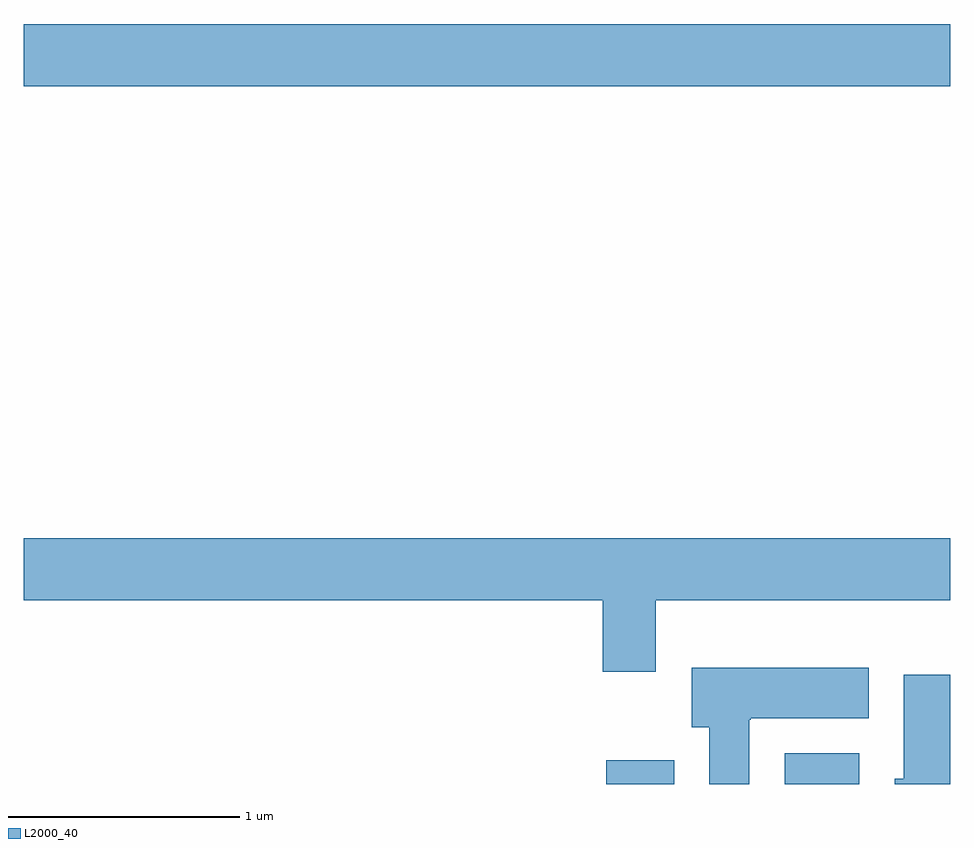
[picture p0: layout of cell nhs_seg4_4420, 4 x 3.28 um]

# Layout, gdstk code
import gdstk
lib = gdstk.Library(unit=1e-6, precision=1e-09)
def R(c, l, rs):  # rectangles x0, y0, x1, y1
    for r in rs: c.add(gdstk.rectangle(r[:2], r[2:], *l))
def P(c, l, *ps):  # polygons
    for p in ps: c.add(gdstk.Polygon(p, *l))
L2000_40 = (2000, 40)

nhs_seg4_4420 = lib.new_cell('nhs_seg4_4420')
R(nhs_seg4_4420, L2000_40, [(318.126,1253.982,318.419,1254.084), (318.896,1253.982,319.219,1254.114), (315.611,1256.996,319.611,1257.264)])
P(nhs_seg4_4420, L2000_40, [(318.339,1254.776),(319.611,1254.776),(319.611,1255.044),(315.611,1255.044),(315.611,1254.776),(318.111,1254.776),(318.111,1254.466),(318.339,1254.466)],
  [(318.744,1254.26),(318.75,1254.26),(318.75,1254.266),(319.259,1254.266),(319.259,1254.484),(318.496,1254.484),(318.496,1254.226),(318.571,1254.226),(318.571,1253.982),(318.744,1253.982)],
  [(319.611,1254.454),(319.411,1254.454),(319.411,1254.004),(319.371,1254.004),(319.371,1253.982),(319.611,1253.982)])

lib.write_gds('nhs_seg4_4420.gds')
